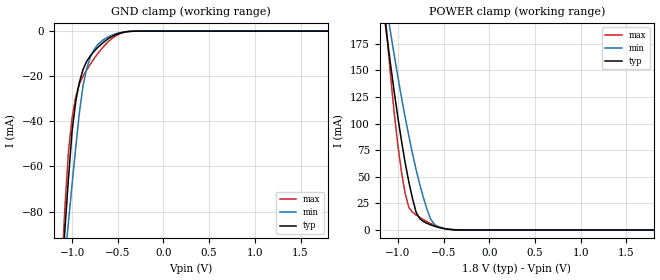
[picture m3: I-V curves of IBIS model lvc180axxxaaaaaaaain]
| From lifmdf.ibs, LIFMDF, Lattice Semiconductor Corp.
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|   Model lvc180axxxaaaaaaaain
[Model] lvc180axxxaaaaaaaain
Model_type Input
Polarity   Non-Inverting
Vinl =  0.630V
Vinh =  1.170V
C_comp   5.000pF   4.000pF   5.500pF
[Temperature Range]   25.000   0.125k   -40.000
[Voltage Range]   1.800V   1.710V   1.890V
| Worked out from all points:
|   GND clamp passes 1 mA (typ) near -0.48 V on its own axis
|   POWER clamp passes 1 mA (typ) near -0.48 V on its own axis
[GND_clamp]
|Voltage   I(typ)   I(min)   I(max)
-1.8V     -588.7mA   -460.3mA   -776.6mA
-1.12V    -113.2mA   -120.2mA   -111.9mA
-1.08V    -88.74mA   -102.2mA   -79.17mA
-1.04V    -65.4mA    -84.73mA   -53.47mA
-1V       -44.35mA   -67.81mA   -38.46mA
-960mV    -31.12mA   -51.57mA   -29.01mA
-920mV    -22.62mA   -36.09mA   -23.42mA
-880mV    -17mA      -24.08mA   -19.92mA
-800mV    -10.94mA   -11.58mA   -14.64mA
-640mV    -4.44mA    -3.389mA   -6.157mA
-360mV    -108.5uA   -102uA     -131.2uA
1.8V      0A         0A         0A
[POWER_clamp]
|Voltage   I(typ)   I(min)   I(max)
-1.8V     714mA      632.1mA    1.122A
-1.16V    209.1mA    229.4mA    225.8mA
-1.12V    181.6mA    207.1mA    183.6mA
-1.08V    155.1mA    185.3mA    144.6mA
-1V       105.6mA    143.8mA    79.25mA
-920mV    62.93mA    105.5mA    33.98mA
-880mV    44.97mA    88.06mA    21.16mA
-800mV    16.41mA    56.47mA    14.05mA
-720mV    7.909mA    30.12mA    9.679mA
-640mV    4.764mA    9.804mA    6.006mA
-480mV    1.023mA    1.146mA    1.242mA
1.8V      0A         0A         0A
